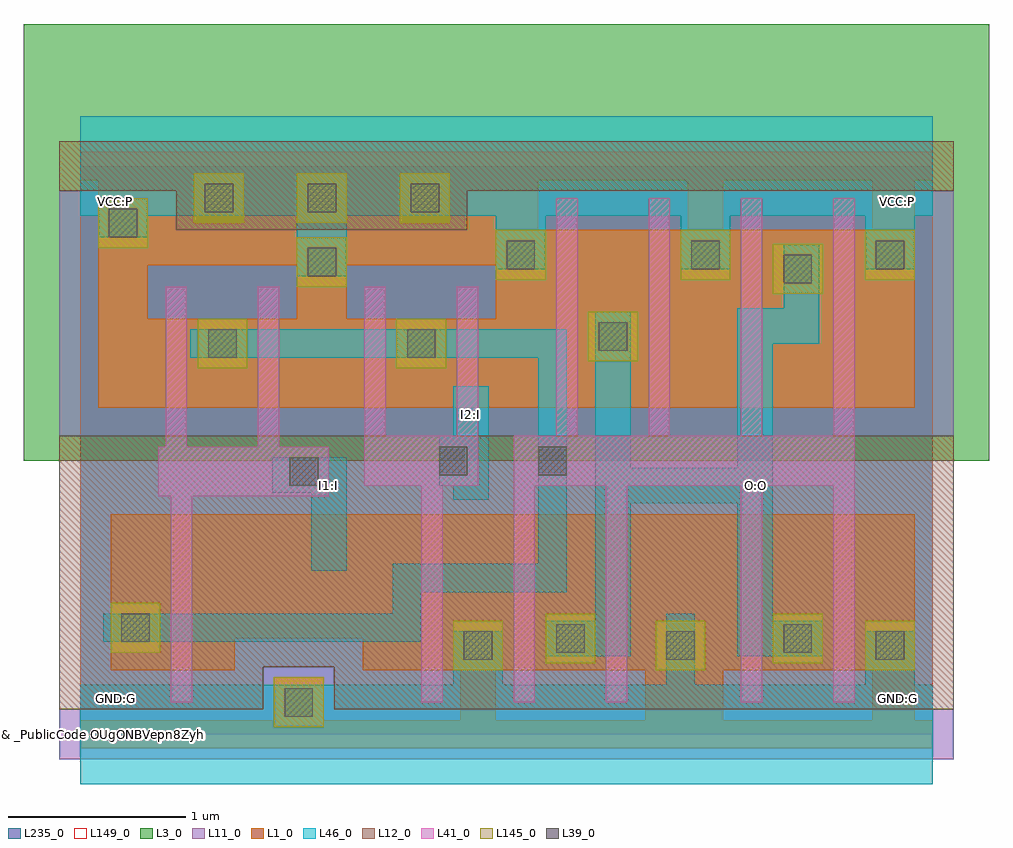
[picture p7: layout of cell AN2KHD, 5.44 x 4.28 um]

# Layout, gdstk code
from math import pi, radians
import gdstk
lib = gdstk.Library(unit=1e-6, precision=1e-09)
def R(c, l, rs):  # rectangles x0, y0, x1, y1
    for r in rs: c.add(gdstk.rectangle(r[:2], r[2:], *l))
def A(c, l, x, y, w, h, nx, ny, dx, dy):  # array of equal rectangles
    R(c, l, [(x+i*dx, y+j*dy, x+i*dx+w, y+j*dy+h) for i in range(nx) for j in range(ny)])
def P(c, l, *ps):  # polygons
    for p in ps: c.add(gdstk.Polygon(p, *l))
L1_0 = (1, 0)
L3_0 = (3, 0)
L11_0 = (11, 0)
L12_0 = (12, 0)
L39_0 = (39, 0)
L41_0 = (41, 0)
L46_0 = (46, 0)
L145_0 = (145, 0)
L149_0 = (149, 0)
L235_0 = (235, 0)

c_pc = lib.new_cell('PC')
R(c_pc, L39_0, [(-0.08,-0.08,0.08,0.08)])
R(c_pc, L41_0, [(-0.14,-0.14,0.14,0.14)])
R(c_pc, L46_0, [(-0.08,-0.14,0.08,0.14)])

c_mc = lib.new_cell('MC')
R(c_mc, L39_0, [(-0.08,-0.08,0.08,0.08)])
R(c_mc, L46_0, [(-0.08,-0.14,0.08,0.14)])
R(c_mc, L145_0, [(-0.14,-0.14,0.14,0.14)])

ihlenmlbgak__41gum4xw0 = lib.new_cell('IHLENMLBGAK$$41Gum4XW0')
R(ihlenmlbgak__41gum4xw0, L1_0, [(0,-0.08,4.8,0.08), (1.09,0.08,1.37,0.32), (2.14,0.08,2.34,0.36), (3.18,0.08,3.62,0.36), (4.46,0.08,4.7,0.36), (3.42,2.84,3.62,3.12), (4.46,2.84,4.7,3.12), (0,3.12,4.8,3.28)])
P(ihlenmlbgak__41gum4xw0, L1_0, [(2.58,3.12),(1.22,3.12),(1.22,2.34),(1.5,2.34),(1.5,2.64),(2.34,2.64),(2.34,2.84),(2.58,2.84)],
  [(4.7,1.24),(0.17,1.24),(0.17,0.36),(0.87,0.36),(0.87,0.54),(1.59,0.54),(1.59,0.36),(4.7,0.36)],
  [(4.7,2.84),(2.34,2.84),(2.34,2.34),(0.1,2.34),(0.1,1.84),(4.7,1.84)],
  [(1.22,3.12),(0.1,3.12),(0.1,2.34),(0.38,2.34),(0.38,2.64),(1.22,2.64)])
R(ihlenmlbgak__41gum4xw0, L3_0, [(-0.32,1.54,5.12,4)])
R(ihlenmlbgak__41gum4xw0, L11_0, [(-0.12,-0.14,4.92,0.14), (-0.12,-0.14,4.92,0.14), (-0.12,-0.14,4.92,0.14), (1.03,0.14,1.43,0.38)])
P(ihlenmlbgak__41gum4xw0, L11_0, [(4.92,3.06),(2.18,3.06),(2.18,2.84),(0.54,2.84),(0.54,3.06),(-0.12,3.06),(-0.12,1.68),(4.92,1.68)])
P(ihlenmlbgak__41gum4xw0, L12_0, [(4.92,3.34),(-0.12,3.34),(-0.12,3.06),(0.54,3.06),(0.54,2.84),(2.18,2.84),(2.18,3.06),(4.92,3.06)],
  [(4.92,1.68),(-0.12,1.68),(-0.12,0.14),(1.03,0.14),(1.03,0.38),(1.43,0.38),(1.43,0.14),(4.92,0.14)])
R(ihlenmlbgak__41gum4xw0, L41_0, [(0.44,1.34,1.12,1.62), (1.6,1.4,2.24,1.68), (2.44,1.4,4.36,1.68)])
A(ihlenmlbgak__41gum4xw0, L46_0, 2.34, 2.62, 0.28, 0.3, 3, 1, 1.04, 0)
R(ihlenmlbgak__41gum4xw0, L46_0, [(2.1,0.28,2.38,0.58), (4.42,0.28,4.7,0.58), (1.22,2.58,1.5,2.92)])
R(ihlenmlbgak__41gum4xw0, L149_0, [(0,0,4.8,3.2)])
R(ihlenmlbgak__41gum4xw0, L235_0, [(0,0,4.8,3.2), (0,0,4.8,3.2), (0,0,4.8,3.2), (0,0,4.8,3.2), (0,0,4.8,3.2), (0,0,4.8,3.2), (0,0,4.8,3.2), (0,0,4.8,3.2), (0,0,4.8,3.2), (0,0,4.8,3.2), (0,0,4.8,3.2), (0,0,4.8,3.2)])
ihlenmlbgak__41gum4xw0.add(gdstk.FlexPath([(0,0),(4.8,0)], 0.56, ends="flush", simple_path=True, layer=46, datatype=0))  # L46_0
ihlenmlbgak__41gum4xw0.add(gdstk.FlexPath([(0,3.2),(4.8,3.2)], 0.56, ends="flush", simple_path=True, layer=46, datatype=0))  # L46_0
ihlenmlbgak__41gum4xw0.add(gdstk.FlexPath([(3.38,0.28),(3.38,0.68)], 0.16, ends="flush", simple_path=True, layer=46, datatype=0))  # L46_0
ihlenmlbgak__41gum4xw0.add(gdstk.FlexPath([(1.4,0.92),(1.4,1.56)], 0.2, ends="flush", simple_path=True, layer=46, datatype=0))  # L46_0
ihlenmlbgak__41gum4xw0.add(gdstk.FlexPath([(2.2,1.32),(2.2,1.96)], 0.2, ends="flush", simple_path=True, layer=46, datatype=0))  # L46_0
ihlenmlbgak__41gum4xw0.add(gdstk.FlexPath([(3,2.38),(3,0.54),(2.62,0.54)], 0.2, ends="flush", simple_path=True, layer=46, datatype=0))  # L46_0
ihlenmlbgak__41gum4xw0.add(gdstk.FlexPath([(0.62,2.2),(2.66,2.2),(2.66,0.88),(1.84,0.88),(1.84,0.6),(0.13,0.6)], 0.16, ends="flush", simple_path=True, layer=46, datatype=0))  # L46_0
ihlenmlbgak__41gum4xw0.add(gdstk.FlexPath([(4.06,2.76),(4.06,2.3),(3.8,2.3),(3.8,0.54),(4.18,0.54)], 0.2, ends="flush", simple_path=True, layer=46, datatype=0))  # L46_0
ihlenmlbgak__41gum4xw0.add(gdstk.FlexPath([(3,1.4),(3.8,1.4)], 0.2, ends="flush", simple_path=True, layer=46, datatype=0))  # L46_0
ihlenmlbgak__41gum4xw0.add(gdstk.FlexPath([(1.08,1.46),(1.5,1.46)], 0.2, ends="flush", simple_path=True, layer=46, datatype=0))  # L46_0
ihlenmlbgak__41gum4xw0.add(gdstk.FlexPath([(0.2,0),(0.2,3.2)], 0, ends="flush", simple_path=True, layer=145, datatype=0))  # L145_0
ihlenmlbgak__41gum4xw0.add(gdstk.FlexPath([(1.4,0),(1.4,3.2)], 0, ends="flush", simple_path=True, layer=145, datatype=0))  # L145_0
ihlenmlbgak__41gum4xw0.add(gdstk.FlexPath([(1.8,0),(1.8,3.2)], 0, ends="flush", simple_path=True, layer=145, datatype=0))  # L145_0
ihlenmlbgak__41gum4xw0.add(gdstk.FlexPath([(2.2,0),(2.2,3.2)], 0, ends="flush", simple_path=True, layer=145, datatype=0))  # L145_0
ihlenmlbgak__41gum4xw0.add(gdstk.FlexPath([(2.6,0),(2.6,3.2)], 0, ends="flush", simple_path=True, layer=145, datatype=0))  # L145_0
ihlenmlbgak__41gum4xw0.add(gdstk.FlexPath([(3,0),(3,3.2)], 0, ends="flush", simple_path=True, layer=145, datatype=0))  # L145_0
ihlenmlbgak__41gum4xw0.add(gdstk.FlexPath([(3.4,0),(3.4,3.2)], 0, ends="flush", simple_path=True, layer=145, datatype=0))  # L145_0
ihlenmlbgak__41gum4xw0.add(gdstk.FlexPath([(3.8,0),(3.8,3.2)], 0, ends="flush", simple_path=True, layer=145, datatype=0))  # L145_0
ihlenmlbgak__41gum4xw0.add(gdstk.FlexPath([(4.2,0),(4.2,3.2)], 0, ends="flush", simple_path=True, layer=145, datatype=0))  # L145_0
ihlenmlbgak__41gum4xw0.add(gdstk.FlexPath([(4.6,0),(4.6,3.2)], 0, ends="flush", simple_path=True, layer=145, datatype=0))  # L145_0
ihlenmlbgak__41gum4xw0.add(gdstk.FlexPath([(0,0.2),(4.8,0.2)], 0, ends="flush", simple_path=True, layer=145, datatype=0))  # L145_0
ihlenmlbgak__41gum4xw0.add(gdstk.FlexPath([(0,0.6),(4.8,0.6)], 0, ends="flush", simple_path=True, layer=145, datatype=0))  # L145_0
ihlenmlbgak__41gum4xw0.add(gdstk.FlexPath([(0,1),(4.8,1)], 0, ends="flush", simple_path=True, layer=145, datatype=0))  # L145_0
ihlenmlbgak__41gum4xw0.add(gdstk.FlexPath([(0,1.4),(4.8,1.4)], 0, ends="flush", simple_path=True, layer=145, datatype=0))  # L145_0
ihlenmlbgak__41gum4xw0.add(gdstk.FlexPath([(0,1.8),(4.8,1.8)], 0, ends="flush", simple_path=True, layer=145, datatype=0))  # L145_0
ihlenmlbgak__41gum4xw0.add(gdstk.FlexPath([(0,2.2),(4.8,2.2)], 0, ends="flush", simple_path=True, layer=145, datatype=0))  # L145_0
ihlenmlbgak__41gum4xw0.add(gdstk.FlexPath([(0,2.6),(4.8,2.6)], 0, ends="flush", simple_path=True, layer=145, datatype=0))  # L145_0
ihlenmlbgak__41gum4xw0.add(gdstk.FlexPath([(0,3),(4.8,3)], 0, ends="flush", simple_path=True, layer=145, datatype=0))  # L145_0
ihlenmlbgak__41gum4xw0.add(gdstk.FlexPath([(1,0),(1,3.2)], 0, ends="flush", simple_path=True, layer=145, datatype=0))  # L145_0
ihlenmlbgak__41gum4xw0.add(gdstk.FlexPath([(0.6,0),(0.6,3.2)], 0, ends="flush", simple_path=True, layer=145, datatype=0))  # L145_0
ihlenmlbgak__41gum4xw0.add(gdstk.FlexPath([(1.66,2.52),(1.66,1.56),(2.24,1.56)], 0.12, ends="flush", simple_path=True, layer=41, datatype=0))  # L41_0
ihlenmlbgak__41gum4xw0.add(gdstk.FlexPath([(1.06,2.52),(1.06,1.56),(0.57,1.56),(0.57,0.18)], 0.12, ends="flush", simple_path=True, layer=41, datatype=0))  # L41_0
ihlenmlbgak__41gum4xw0.add(gdstk.FlexPath([(2.74,3.02),(2.74,1.56),(2.5,1.56),(2.5,0.18)], 0.12, ends="flush", simple_path=True, layer=41, datatype=0))  # L41_0
ihlenmlbgak__41gum4xw0.add(gdstk.FlexPath([(3.26,3.02),(3.26,1.55),(3.02,1.55),(3.02,0.18)], 0.12, ends="flush", simple_path=True, layer=41, datatype=0))  # L41_0
ihlenmlbgak__41gum4xw0.add(gdstk.FlexPath([(4.3,0.18),(4.3,3.02)], 0.12, ends="flush", simple_path=True, layer=41, datatype=0))  # L41_0
ihlenmlbgak__41gum4xw0.add(gdstk.FlexPath([(3.78,0.18),(3.78,3.02)], 0.12, ends="flush", simple_path=True, layer=41, datatype=0))  # L41_0
ihlenmlbgak__41gum4xw0.add(gdstk.FlexPath([(0.54,2.52),(0.54,1.56),(1.12,1.56)], 0.12, ends="flush", simple_path=True, layer=41, datatype=0))  # L41_0
ihlenmlbgak__41gum4xw0.add(gdstk.FlexPath([(2.18,2.52),(2.18,1.56),(1.98,1.56),(1.98,0.18)], 0.12, ends="flush", simple_path=True, layer=41, datatype=0))  # L41_0
r = gdstk.Reference(c_pc, (1.26,1.48), rotation=pi/2); r.repetition = gdstk.Repetition(1, 1, v1=(0,0.28), v2=(-0.32,0)); ihlenmlbgak__41gum4xw0.add(r)
r = gdstk.Reference(c_pc, (2.66,1.54)); r.repetition = gdstk.Repetition(1, 1, v1=(0.28,0), v2=(0,0.32)); ihlenmlbgak__41gum4xw0.add(r)
r = gdstk.Reference(c_pc, (2.1,1.54)); r.repetition = gdstk.Repetition(1, 1, v1=(0.28,0), v2=(0,0.32)); ihlenmlbgak__41gum4xw0.add(r)
r = gdstk.Reference(c_mc, (1.36,2.66), rotation=pi/2); r.repetition = gdstk.Repetition(1, 1, v1=(0,0.28), v2=(-0.32,0)); ihlenmlbgak__41gum4xw0.add(r)
r = gdstk.Reference(c_mc, (1.92,2.2), rotation=pi/2); r.repetition = gdstk.Repetition(1, 1, v1=(0,0.28), v2=(-0.32,0)); ihlenmlbgak__41gum4xw0.add(r)
r = gdstk.Reference(c_mc, (0.24,2.88), rotation=pi/2); r.repetition = gdstk.Repetition(1, 1, v1=(0,0.28), v2=(-0.32,0)); ihlenmlbgak__41gum4xw0.add(r)
r = gdstk.Reference(c_mc, (1.36,3.02), rotation=pi/2); r.repetition = gdstk.Repetition(1, 1, v1=(0,0.28), v2=(-0.32,0)); ihlenmlbgak__41gum4xw0.add(r)
r = gdstk.Reference(c_mc, (4.56,2.7), rotation=pi/2); r.repetition = gdstk.Repetition(1, 1, v1=(0,0.28), v2=(-0.32,0)); ihlenmlbgak__41gum4xw0.add(r)
r = gdstk.Reference(c_mc, (4.04,0.54), rotation=pi/2, x_reflection=True); r.repetition = gdstk.Repetition(1, 1, v1=(0,0.28), v2=(0.32,0)); ihlenmlbgak__41gum4xw0.add(r)
r = gdstk.Reference(c_mc, (4.56,0.5), rotation=pi/2); r.repetition = gdstk.Repetition(1, 1, v1=(0,0.28), v2=(-0.32,0)); ihlenmlbgak__41gum4xw0.add(r)
r = gdstk.Reference(c_mc, (4.04,2.62), rotation=pi, x_reflection=True); r.repetition = gdstk.Repetition(1, 1, v1=(-0.28,0), v2=(0,0.32)); ihlenmlbgak__41gum4xw0.add(r)
r = gdstk.Reference(c_mc, (3.38,0.5)); r.repetition = gdstk.Repetition(1, 1, v1=(0.28,0), v2=(0,0.32)); ihlenmlbgak__41gum4xw0.add(r)
r = gdstk.Reference(c_mc, (1.23,0.18), rotation=pi/2); r.repetition = gdstk.Repetition(1, 1, v1=(0,0.28), v2=(-0.32,0)); ihlenmlbgak__41gum4xw0.add(r)
r = gdstk.Reference(c_mc, (0.31,0.6), rotation=pi/2); r.repetition = gdstk.Repetition(1, 1, v1=(0,0.28), v2=(-0.32,0)); ihlenmlbgak__41gum4xw0.add(r)
r = gdstk.Reference(c_mc, (0.8,2.2), rotation=pi/2); r.repetition = gdstk.Repetition(1, 1, v1=(0,0.28), v2=(-0.32,0)); ihlenmlbgak__41gum4xw0.add(r)
r = gdstk.Reference(c_mc, (2.48,2.7), rotation=pi/2); r.repetition = gdstk.Repetition(1, 1, v1=(0,0.28), v2=(-0.32,0)); ihlenmlbgak__41gum4xw0.add(r)
r = gdstk.Reference(c_mc, (2.24,0.5), rotation=pi/2); r.repetition = gdstk.Repetition(1, 1, v1=(0,0.28), v2=(-0.32,0)); ihlenmlbgak__41gum4xw0.add(r)
r = gdstk.Reference(c_mc, (3,2.24)); r.repetition = gdstk.Repetition(1, 1, v1=(0.28,0), v2=(0,0.32)); ihlenmlbgak__41gum4xw0.add(r)
r = gdstk.Reference(c_mc, (2.76,0.54), rotation=pi/2); r.repetition = gdstk.Repetition(1, 1, v1=(0,0.28), v2=(-0.32,0)); ihlenmlbgak__41gum4xw0.add(r)
r = gdstk.Reference(c_mc, (3.52,2.7), rotation=pi/2); r.repetition = gdstk.Repetition(1, 1, v1=(0,0.28), v2=(-0.32,0)); ihlenmlbgak__41gum4xw0.add(r)
r = gdstk.Reference(c_mc, (1.94,3.02), rotation=pi/2); r.repetition = gdstk.Repetition(1, 1, v1=(0,0.28), v2=(-0.32,0)); ihlenmlbgak__41gum4xw0.add(r)
r = gdstk.Reference(c_mc, (0.78,3.02), rotation=pi/2); r.repetition = gdstk.Repetition(1, 1, v1=(0,0.28), v2=(-0.32,0)); ihlenmlbgak__41gum4xw0.add(r)
ihlenmlbgak__41gum4xw0.add(gdstk.Label('#Id:7JQJaQKD4XF6RXVVbbbPNLABMd99ZLLaK99JL0406EKC574A4A3EOSP8MXXWHY99T6WBH22210RAL9', (0.02,0.02), layer=147, texttype=0))
ihlenmlbgak__41gum4xw0.add(gdstk.Label('AN2KHD', (0,0), layer=144, texttype=0))
ihlenmlbgak__41gum4xw0.add(gdstk.Label('VCC:P', (0.2,3), layer=101, texttype=0))
ihlenmlbgak__41gum4xw0.add(gdstk.Label('VCC:P', (4.6,3), layer=101, texttype=0))
ihlenmlbgak__41gum4xw0.add(gdstk.Label('GND:G', (0.2,0.2), layer=101, texttype=0))
ihlenmlbgak__41gum4xw0.add(gdstk.Label('GND:G', (4.6,0.2), layer=101, texttype=0))
ihlenmlbgak__41gum4xw0.add(gdstk.Label('O:O', (3.8,1.4), layer=101, texttype=0))
ihlenmlbgak__41gum4xw0.add(gdstk.Label('I2:I', (2.2,1.8), layer=101, texttype=0))
ihlenmlbgak__41gum4xw0.add(gdstk.Label('I1:I', (1.4,1.4), layer=101, texttype=0))

an2khd = lib.new_cell('AN2KHD')
R(an2khd, L149_0, [(0,0,4.8,3.2)])
an2khd.add(gdstk.Reference(ihlenmlbgak__41gum4xw0, (0,0)))
an2khd.add(gdstk.Label('& _PublicCode OUgONBVepn8Zyhuhb7nzKSFGv0ozQ4p7', (0,0), layer=3, texttype=0))
an2khd.add(gdstk.Label('& Metric 15.36', (0,0), layer=3, texttype=0))
an2khd.add(gdstk.Label('& Version 2009Q1V3.0', (0,0), layer=3, texttype=0))
an2khd.add(gdstk.Label('& Product FSC0H_D_GENERIC_CORE', (0,0), layer=3, texttype=0))
an2khd.add(gdstk.Label('& Vendor Faraday_Technology_Corp.', (0,0), layer=3, texttype=0))
an2khd.add(gdstk.Label('#Id:7JQJaQKD4XF6RXVVbbbPNLABMd99ZLLaK99JL0406EKC574A4A3EOSP8MXXWHY99T6WBH22210RAL9', (0.02,0.02), layer=147, texttype=0))
an2khd.add(gdstk.Label('AN2KHD', (0,0), layer=144, texttype=0))
an2khd.add(gdstk.Label('VCC:P', (0.2,3), layer=101, texttype=0))
an2khd.add(gdstk.Label('VCC:P', (4.6,3), layer=101, texttype=0))
an2khd.add(gdstk.Label('GND:G', (0.2,0.2), layer=101, texttype=0))
an2khd.add(gdstk.Label('GND:G', (4.6,0.2), layer=101, texttype=0))
an2khd.add(gdstk.Label('O:O', (3.8,1.4), layer=101, texttype=0))
an2khd.add(gdstk.Label('I2:I', (2.2,1.8), layer=101, texttype=0))
an2khd.add(gdstk.Label('I1:I', (1.4,1.4), layer=101, texttype=0))

lib.write_gds('AN2KHD.gds')
